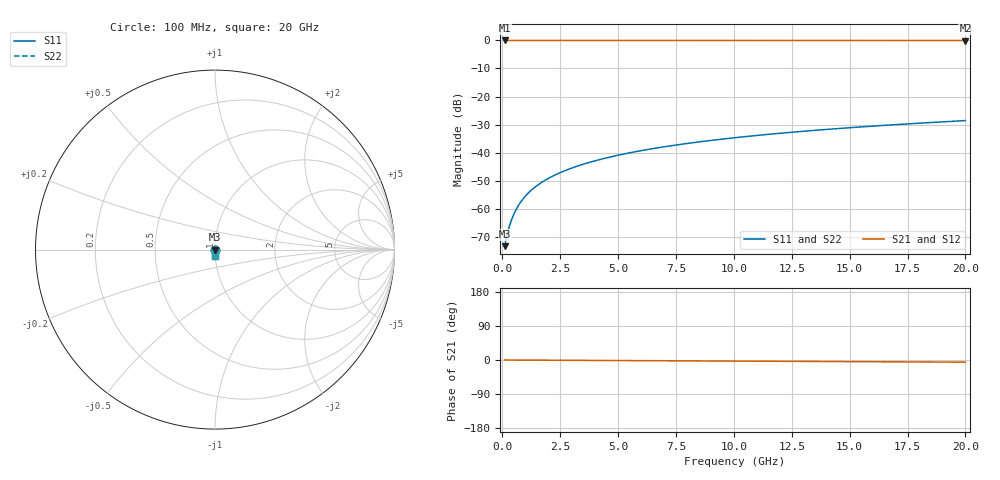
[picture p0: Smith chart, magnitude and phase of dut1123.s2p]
! Touchstone file exported from HFSS 2026.1.0
!  File:  C:/ffzhzh/LocalFiles/Ansys_Project_Files/temp_train_TSV_1123_1783190993_55132.aedt
!  Generated:  02:51:24 AM Jul  5, 2026
!  Design:  TSV
!  Project:  temp_train_TSV_1123_1783190993_55132
! Variables:
!  h_bsmrdl = 2um
!  h_ox = 20um
!  h_rdl = 5um
!  h_sub = 56.17um
!  h_tmrdl = 5um
!  h_tsv = 56.17um
!  h_via = 3um
!  l_bsmrdl = 300um
!  l_sub = 414.74um
!  l_tmrdl = 200um
!  m_sub = 200um
!  pitch = 21.27um
!  r_tsv = 7.37um
!  s_tmrdl = 10um
!  w_bsmrdl = 18um
!  w_sub = 500um
!  w_tmrdl = 12um
!  x_tsv_center1 = 206um
!  x_tsv_center2 = 524um
!  x_tsv_center3 = 736um
!  x_tsv_center4 = 1054um
!  x_tsv_center5 = 1266um
!  x_tsv_center6 = 1584um
# GHz S MA R 50.000000
! Terminal data exported
! Port[1] = TSV1_1_T1
! Port[2] = TSV1_1_T2
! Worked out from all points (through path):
!   200 points, 100 MHz to 20 GHz, reference 50 ohm
!   highest |S21| = 0.00 dB at 100 MHz (marker M1); lowest = 0.0 dB at 20 GHz (marker M2)
!   lowest |S11| = -73.4 dB at 100 MHz (marker M3), VSWR 1.00, Z = 50 - j0.0137 ohm
!   |S11| at or under -10 dB: start of sweep to end of sweep
!   |S22| runs from -73.4 to -28.6 dB; largest |S21 - S12| = 9.1e-15
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0.1  0.0002149 -39.5  0.9998 -0.0  0.9998 -0.0  0.0002149 -39.5
! Gamma 0 0 0 0
! Port Impedance 50 0 50 0
0.2  0.0003339 -56.7  0.9998 -0.1  0.9998 -0.1  0.0003339 -56.7
0.3  0.0004777 -64.3  0.9998 -0.1  0.9998 -0.1  0.0004777 -64.3
0.4  0.0006352 -68.4  0.9998 -0.1  0.9998 -0.1  0.0006352 -68.4
0.5  0.0008015 -71.1  0.9997 -0.2  0.9997 -0.2  0.0008015 -71.1
0.6  0.0009736 -73.1  0.9997 -0.2  0.9997 -0.2  0.0009736 -73.1
0.8  0.001327 -76.0  0.9997 -0.2  0.9997 -0.2  0.001327 -76.0
1.1  0.001866 -78.9  0.9996 -0.3  0.9996 -0.3  0.001866 -78.9
1.3  0.002227 -80.3  0.9996 -0.4  0.9996 -0.4  0.002227 -80.3
1.5  0.002588 -81.3  0.9996 -0.4  0.9996 -0.4  0.002588 -81.3
1.8  0.00313 -82.5  0.9996 -0.5  0.9996 -0.5  0.00313 -82.5
2.1  0.003672 -83.4  0.9995 -0.6  0.9995 -0.6  0.003672 -83.4
2.7  0.00476 -84.6  0.9995 -0.8  0.9995 -0.8  0.004761 -84.6
3.5  0.006222 -85.7  0.9994 -1.0  0.9994 -1.0  0.006222 -85.7
4.2  0.007511 -86.4  0.9993 -1.2  0.9993 -1.2  0.007511 -86.4
5  0.008993 -87.0  0.9993 -1.5  0.9993 -1.5  0.008993 -87.0
6.8  0.01236 -88.1  0.9991 -2.0  0.9991 -2.0  0.01236 -88.1
8.3  0.01518 -88.9  0.999 -2.4  0.999 -2.4  0.01518 -88.9
10.1  0.01857 -89.8  0.9988 -2.9  0.9988 -2.9  0.01857 -89.8
13.4  0.02479 -91.2  0.9985 -3.9  0.9985 -3.9  0.02479 -91.2
16.7  0.03103 -92.4  0.9982 -4.8  0.9982 -4.8  0.03103 -92.4
20  0.03727 -93.5  0.9979 -5.8  0.9979 -5.8  0.03727 -93.5
